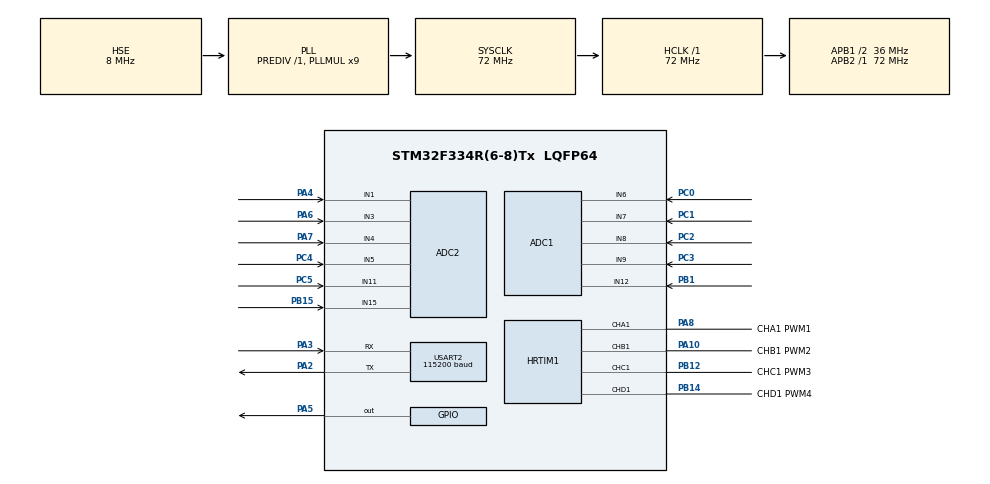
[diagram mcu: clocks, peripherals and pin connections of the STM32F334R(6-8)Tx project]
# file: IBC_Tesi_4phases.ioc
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ADC1.Channel-0\#ChannelRegularConversion=ADC_CHANNEL_6
ADC1.Channel-1\#ChannelRegularConversion=ADC_CHANNEL_7
ADC1.Channel-2\#ChannelRegularConversion=ADC_CHANNEL_8
ADC1.Channel-3\#ChannelRegularConversion=ADC_CHANNEL_9
ADC1.ClockPrescaler=ADC_CLOCK_SYNC_PCLK_DIV1
ADC1.DMAContinuousRequests=ENABLE
ADC1.DiscontinuousConvMode=ENABLE
ADC1.ExternalTrigConv=ADC_EXTERNALTRIGCONVHRTIM_TRG1
ADC1.ExternalTrigInjecConv=ADC_INJECTED_SOFTWARE_START
ADC1.InjNumberOfConversion=1
ADC1.InjectedChannel-4\#ChannelInjectedConversion=ADC_CHANNEL_12
ADC1.InjectedOffset-4\#ChannelInjectedConversion=0
ADC1.InjectedOffsetNumber-4\#ChannelInjectedConversion=ADC_OFFSET_NONE
ADC1.InjectedRank-4\#ChannelInjectedConversion=1
ADC1.InjectedSamplingTime-4\#ChannelInjectedConversion=ADC_SAMPLETIME_19CYCLES_5
ADC1.InjectedSamplingTimeOPAMP-4\#ChannelInjectedConversion=ADC_SAMPLETIME_61CYCLES_5
ADC1.NbrOfConversion=4
ADC1.NbrOfConversionFlag=1
ADC1.Offset-0\#ChannelRegularConversion=0
ADC1.Offset-1\#ChannelRegularConversion=0
ADC1.Offset-2\#ChannelRegularConversion=0
ADC1.Offset-3\#ChannelRegularConversion=0
ADC1.OffsetNumber-0\#ChannelRegularConversion=ADC_OFFSET_NONE
ADC1.OffsetNumber-1\#ChannelRegularConversion=ADC_OFFSET_NONE
ADC1.OffsetNumber-2\#ChannelRegularConversion=ADC_OFFSET_NONE
ADC1.OffsetNumber-3\#ChannelRegularConversion=ADC_OFFSET_NONE
ADC1.Rank-0\#ChannelRegularConversion=1
ADC1.Rank-1\#ChannelRegularConversion=2
ADC1.Rank-2\#ChannelRegularConversion=3
ADC1.Rank-3\#ChannelRegularConversion=4
ADC1.Rank1_Channel=ADC_CHANNEL_12
ADC1.SamplingTime-0\#ChannelRegularConversion=ADC_SAMPLETIME_1CYCLE_5
ADC1.SamplingTime-1\#ChannelRegularConversion=ADC_SAMPLETIME_1CYCLE_5
ADC1.SamplingTime-2\#ChannelRegularConversion=ADC_SAMPLETIME_1CYCLE_5
ADC1.SamplingTime-3\#ChannelRegularConversion=ADC_SAMPLETIME_1CYCLE_5
ADC1.SamplingTimeOPAMP-1\#ChannelRegularConversion=ADC_SAMPLETIME_61CYCLES_5
ADC1.SamplingTimeOPAMP-2\#ChannelRegularConversion=ADC_SAMPLETIME_61CYCLES_5
ADC1.SamplingTimeOPAMP-3\#ChannelRegularConversion=ADC_SAMPLETIME_61CYCLES_5
ADC1.SubFamily=STM32F334x8
ADC1.master=1
ADC2.Channel-0\#ChannelRegularConversion=ADC_CHANNEL_1
ADC2.Channel-1\#ChannelRegularConversion=ADC_CHANNEL_3
ADC2.Channel-2\#ChannelRegularConversion=ADC_CHANNEL_4
ADC2.Channel-3\#ChannelRegularConversion=ADC_CHANNEL_5
ADC2.ClockPrescaler=ADC_CLOCK_SYNC_PCLK_DIV1
ADC2.DMAContinuousRequests=ENABLE
ADC2.DiscontinuousConvMode=ENABLE
ADC2.ExternalTrigInjecConv=ADC_INJECTED_SOFTWARE_START
ADC2.InjNumberOfConversion=2
ADC2.InjectedChannel-4\#ChannelInjectedConversion=ADC_CHANNEL_11
ADC2.InjectedChannel-5\#ChannelInjectedConversion=ADC_CHANNEL_15
ADC2.InjectedOffset-4\#ChannelInjectedConversion=0
ADC2.InjectedOffset-5\#ChannelInjectedConversion=0
ADC2.InjectedOffsetNumber-4\#ChannelInjectedConversion=ADC_OFFSET_NONE
ADC2.InjectedOffsetNumber-5\#ChannelInjectedConversion=ADC_OFFSET_NONE
ADC2.InjectedRank-4\#ChannelInjectedConversion=1
ADC2.InjectedRank-5\#ChannelInjectedConversion=2
ADC2.InjectedSamplingTime-4\#ChannelInjectedConversion=ADC_SAMPLETIME_19CYCLES_5
ADC2.InjectedSamplingTime-5\#ChannelInjectedConversion=ADC_SAMPLETIME_19CYCLES_5
ADC2.InjectedSamplingTimeOPAMP-4\#ChannelInjectedConversion=ADC_SAMPLETIME_61CYCLES_5
ADC2.InjectedSamplingTimeOPAMP-5\#ChannelInjectedConversion=ADC_SAMPLETIME_61CYCLES_5
ADC2.NbrOfConversion=4
ADC2.NbrOfConversionFlag=1
ADC2.Offset-0\#ChannelRegularConversion=0
ADC2.Offset-1\#ChannelRegularConversion=0
ADC2.Offset-2\#ChannelRegularConversion=0
ADC2.Offset-3\#ChannelRegularConversion=0
ADC2.OffsetNumber-0\#ChannelRegularConversion=ADC_OFFSET_NONE
ADC2.OffsetNumber-1\#ChannelRegularConversion=ADC_OFFSET_NONE
ADC2.OffsetNumber-2\#ChannelRegularConversion=ADC_OFFSET_NONE
ADC2.OffsetNumber-3\#ChannelRegularConversion=ADC_OFFSET_NONE
ADC2.Rank-0\#ChannelRegularConversion=1
ADC2.Rank-1\#ChannelRegularConversion=2
ADC2.Rank-2\#ChannelRegularConversion=3
ADC2.Rank-3\#ChannelRegularConversion=4
ADC2.Rank1_Channel=ADC_CHANNEL_11
ADC2.Rank2_Channel=ADC_CHANNEL_15
ADC2.SamplingTime-0\#ChannelRegularConversion=ADC_SAMPLETIME_1CYCLE_5
ADC2.SamplingTime-1\#ChannelRegularConversion=ADC_SAMPLETIME_1CYCLE_5
ADC2.SamplingTime-2\#ChannelRegularConversion=ADC_SAMPLETIME_1CYCLE_5
ADC2.SamplingTime-3\#ChannelRegularConversion=ADC_SAMPLETIME_1CYCLE_5
ADC2.SamplingTimeOPAMP-1\#ChannelRegularConversion=ADC_SAMPLETIME_61CYCLES_5
ADC2.SamplingTimeOPAMP-2\#ChannelRegularConversion=ADC_SAMPLETIME_61CYCLES_5
ADC2.SamplingTimeOPAMP-3\#ChannelRegularConversion=ADC_SAMPLETIME_61CYCLES_5
ADC2.SubFamily=STM32F334x8
Dma.ADC1.0.Direction=DMA_PERIPH_TO_MEMORY
Dma.ADC1.0.Instance=DMA1_Channel1
Dma.ADC1.0.MemDataAlignment=DMA_MDATAALIGN_HALFWORD
Dma.ADC1.0.MemInc=DMA_MINC_ENABLE
Dma.ADC1.0.Mode=DMA_CIRCULAR
Dma.ADC1.0.PeriphDataAlignment=DMA_PDATAALIGN_HALFWORD
Dma.ADC1.0.PeriphInc=DMA_PINC_DISABLE
Dma.ADC1.0.Priority=DMA_PRIORITY_LOW
Dma.ADC2.1.Direction=DMA_PERIPH_TO_MEMORY
Dma.ADC2.1.Instance=DMA1_Channel2
Dma.ADC2.1.MemDataAlignment=DMA_MDATAALIGN_HALFWORD
Dma.ADC2.1.MemInc=DMA_MINC_ENABLE
Dma.ADC2.1.Mode=DMA_CIRCULAR
Dma.ADC2.1.PeriphDataAlignment=DMA_PDATAALIGN_HALFWORD
Dma.ADC2.1.PeriphInc=DMA_PINC_DISABLE
Dma.ADC2.1.Priority=DMA_PRIORITY_LOW
Dma.Request0=ADC1
Dma.Request1=ADC2
HRTIM1.ADCTrigger_Id1=HRTIM_ADCTRIGGER_1
HRTIM1.CompareUnit1-MasterTimer=HRTIM_COMPAREUNIT_1
HRTIM1.Configuration_TA=Waveform
HRTIM1.Configuration_TB=Waveform
HRTIM1.Configuration_TC=Waveform
HRTIM1.Configuration_TD=Waveform
HRTIM1.ModeTimeBase-Output_TA1=HRTIM_MODE_SINGLESHOT_RETRIGGERABLE
HRTIM1.ModeTimeBase-Output_TB1=HRTIM_MODE_SINGLESHOT_RETRIGGERABLE
HRTIM1.ModeTimeBase-Output_TC1=HRTIM_MODE_SINGLESHOT_RETRIGGERABLE
HRTIM1.ModeTimeBase-Output_TD1=HRTIM_MODE_SINGLESHOT_RETRIGGERABLE
HRTIM1.Periode_MASTER=MPER
HRTIM1.Periode_TA=MPER
HRTIM1.Periode_TB=MPER
HRTIM1.Periode_TC=MPER
HRTIM1.Periode_TD=MPER
HRTIM1.RepetitionCounter-MasterTimer=0x20
HRTIM1.RepetitionCounter-Output_TA1=0x20
HRTIM1.RepetitionCounter-Output_TB1=0x20
HRTIM1.RepetitionCounter-Output_TC1=0x20
HRTIM1.RepetitionCounter-Output_TD1=0x20
Mcu.Family=STM32F3
Mcu.Name=STM32F334R(6-8)Tx
Mcu.Package=LQFP64
Mcu.UserConstants=MPER,0x27FF;DUTY_RATIO,0x1BFF
NVIC.DMA1_Channel1_IRQn=true\:0\:0\:false\:false\:true\:false\:true\:true
NVIC.DMA1_Channel2_IRQn=true\:0\:0\:false\:false\:true\:false\:true\:true
NVIC.PriorityGroup=NVIC_PRIORITYGROUP_4
NVIC.USART2_IRQn=true\:0\:0\:false\:false\:true\:true\:true\:true
PA10.GPIO_Label=CHB1 PWM2
PA10.Mode=Output_TB1
PA10.Signal=HRTIM1_CHB1
PA2.Mode=Asynchronous
PA2.Signal=USART2_TX
PA3.Mode=Asynchronous
PA3.Signal=USART2_RX
PA4.Mode=IN1-Single-Ended
PA4.Signal=ADC2_IN1
PA5.Signal=GPIO_Output
PA6.Mode=IN3-Single-Ended
PA6.Signal=ADC2_IN3
PA7.Mode=IN4-Single-Ended
PA7.Signal=ADC2_IN4
PA8.GPIO_Label=CHA1 PWM1
PA8.Mode=Output_TA1
PA8.Signal=HRTIM1_CHA1
PB1.Mode=IN12-Single-Ended
PB1.Signal=ADC1_IN12
PB12.GPIO_Label=CHC1 PWM3
PB12.Mode=Output_TC1
PB12.Signal=HRTIM1_CHC1
PB14.GPIO_Label=CHD1 PWM4
PB14.Mode=Output_TD1
PB14.Signal=HRTIM1_CHD1
PB15.Mode=IN15-Single-Ended
PB15.Signal=ADC2_IN15
PC0.Signal=ADCx_IN6
PC1.Signal=ADCx_IN7
PC2.Signal=ADCx_IN8
PC3.Signal=ADCx_IN9
PC4.Mode=IN5-Single-Ended
PC4.Signal=ADC2_IN5
PC5.Mode=IN11-Single-Ended
PC5.Signal=ADC2_IN11
PF0\ /\ OSC_IN.Mode=HSE-External-Clock-Source
PF0\ /\ OSC_IN.Signal=RCC_OSC_IN
ProjectManager.HeapSize=0x200
ProjectManager.StackSize=0x400
ProjectManager.TargetToolchain=STM32CubeIDE
RCC.AHBFreq_Value=72000000
RCC.APB1CLKDivider=RCC_HCLK_DIV2
RCC.APB1Freq_Value=36000000
RCC.APB1TimFreq_Value=72000000
RCC.APB2Freq_Value=72000000
RCC.APB2TimFreq_Value=72000000
RCC.CortexFreq_Value=72000000
RCC.HCLKFreq_Value=72000000
RCC.HRTIMSelection=RCC_HRTIM1CLK_PLLCLK
RCC.HSE_VALUE=8000000
RCC.HSI_VALUE=8000000
RCC.LSE_VALUE=32768
RCC.PLLMUL=RCC_PLL_MUL9
RCC.PLLSourceVirtual=RCC_PLLSOURCE_HSE
RCC.SYSCLKFreq_VALUE=72000000
RCC.SYSCLKSourceVirtual=RCC_SYSCLKSOURCE_PLLCLK
SH.ADCx_IN6.0=ADC1_IN6,IN6-Single-Ended
SH.ADCx_IN7.0=ADC1_IN7,IN7-Single-Ended
SH.ADCx_IN8.0=ADC1_IN8,IN8-Single-Ended
SH.ADCx_IN9.0=ADC1_IN9,IN9-Single-Ended
USART2.BaudRate=115200
USART2.VirtualMode-Asynchronous=VM_ASYNC
VP_HRTIM1_VS_hrtimMasterTimerNoOutput.Mode=MasterTimer
board=custom

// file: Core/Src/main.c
/* USER CODE BEGIN Header */
/**
  ******************************************************************************
  * @file           : main.c
  * @brief          : Main program body
  ******************************************************************************
  * @attention
  *
  * Copyright (c) 2026 STMicroelectronics.
  * All rights reserved.
  *
  * This software is licensed under terms that can be found in the LICENSE file
  * in the root directory of this software component.
  * If no LICENSE file comes with this software, it is provided AS-IS.
  *
  ******************************************************************************
  */
/* USER CODE END Header */
#include "main.h"

/* USER CODE BEGIN Includes */
#include <stdlib.h>
#include <string.h>
#include <stdio.h>
/* USER CODE END Includes */

ADC_HandleTypeDef hadc1;
ADC_HandleTypeDef hadc2;
DMA_HandleTypeDef hdma_adc1;
DMA_HandleTypeDef hdma_adc2;

HRTIM_HandleTypeDef hhrtim1;

UART_HandleTypeDef huart2;

/* USER CODE BEGIN PV */

/*vairabili per UART*/
uint8_t uart_rx_byte;         /* Singolo carattere ricevuto */
char    uart_rx_buffer[16];   /* Stringa accumulata fino alla pressione di INVIO */
uint8_t uart_rx_index = 0;

/* Variabili modificabili in runtime (Open Loop) */
volatile uint8_t  NumActivePhases = 4;              /* Valori ammessi: 1, 2, 3, 4 */
volatile uint8_t  PrevActivePhases = 0;             /* Usata per rilevare il cambio fase */
volatile float    TargetDutyPercent = 25.0f;        /* Duty cycle impostabile (es. 0.0 - 80.0 %) */
volatile uint32_t CurrentDutyTicks = DUTY_CYCLE_INIT;

volatile uint16_t PhaseCurrents_ADC2[4]; 		/*Accessed by DMA, PH1->PH4, PA4-PA6-PA7-PC4*/
volatile uint16_t PhaseVoltages_ADC1[4];		/*Accessed by DMA, PH1->PH4, PC0-PC1-PC2-PC3*/

/* Injected Channels No DMA, triggered by software */

volatile uint16_t OutputCurrent_ADC1 = 0; /* PB1 (ADC1_IN12) */
volatile uint16_t OutputVoltage_ADC2 = 0; /* PC5 (ADC2_IN11) */
volatile uint16_t Temperature_ADC2   = 0; /* PB15 (ADC2_IN15) */
/* USER CODE END PV */

void SystemClock_Config(void);
static void MX_GPIO_Init(void);
static void MX_DMA_Init(void);
static void MX_HRTIM1_Init(void);
static void MX_ADC1_Init(void);
static void MX_ADC2_Init(void);
static void MX_USART2_UART_Init(void);
/* USER CODE BEGIN PFP */
static void Update_Boost_Parameters(void);
static void HRTIM_Config(void);
/* USER CODE END PFP */

int main(void)
{

  /* MCU Configuration--------------------------------------------------------*/

  /* Reset of all peripherals, Initializes the Flash interface and the Systick. */
  HAL_Init();

  /* USER CODE BEGIN Init */
  /* Initialize User_Button on STM32F3348-DISCO */

  /* Initialize ADC to be triggered by the HRTIMER */
  //ADC_Config();

  /* USER CODE END Init */

  /* Configure the system clock */
  SystemClock_Config();

  /* Initialize all configured peripherals */
  MX_GPIO_Init();
  MX_DMA_Init();
  //MX_HRTIM1_Init();
  MX_ADC1_Init();
  MX_ADC2_Init();
  MX_USART2_UART_Init();
  /* USER CODE BEGIN 2 */

  /* 1. Calibrazione hardware di ADC1 e ADC2 in Single-Ended (come in main.c) */
  if (HAL_ADCEx_Calibration_Start(&hadc1, ADC_SINGLE_ENDED) != HAL_OK)
  {
	  Error_Handler();
  }
  if (HAL_ADCEx_Calibration_Start(&hadc2, ADC_SINGLE_ENDED) != HAL_OK)
  {
	  Error_Handler();
  }
  /* 2. Avvia il DMA in modalità Circular per i 4 canali Regular di ADC1 e ADC2 */
    /* Da questo momento gli ADC aspettano in automatico i trigger HRTIM_ADCTRIGGER_1 */
  if (HAL_ADC_Start_DMA(&hadc1, (uint32_t *)PhaseVoltages_ADC1, 4) != HAL_OK)
  {
	  Error_Handler();
  }
  if (HAL_ADC_Start_DMA(&hadc2, (uint32_t *)PhaseCurrents_ADC2, 4) != HAL_OK)
  {
	  Error_Handler();
  }
  /* DISABILITA GLI INTERRUPT DEL DMA: il DMA continua a copiare i dati in RAM in
       modalità Circular a 400 kHz, ma lascia libera al 100% la CPU e la UART! */

  __HAL_DMA_DISABLE_IT(&hdma_adc1, DMA_IT_HT | DMA_IT_TC | DMA_IT_TE);
  __HAL_DMA_DISABLE_IT(&hdma_adc2, DMA_IT_HT | DMA_IT_TC | DMA_IT_TE);
  HAL_NVIC_DisableIRQ(DMA1_Channel1_IRQn);
  HAL_NVIC_DisableIRQ(DMA1_Channel2_IRQn);

  /* 3. Configura l'HRTIM1 e collega i pin fisici PA8, PA10, PB12, PB14 */
  HRTIM_Config();
  HAL_HRTIM_MspPostInit(&hhrtim1);
  /* Enable HRTIM's outputs TA2, TB1, TC2, TD1, TD2 */
  HAL_HRTIM_WaveformOutputStart(&hhrtim1, HRTIM_OUTPUT_TA1 | HRTIM_OUTPUT_TB1 | HRTIM_OUTPUT_TC1 | HRTIM_OUTPUT_TD1);
  /* Start HRTIM's TIMER A, B, C, D */
  HAL_HRTIM_WaveformCountStart(&hhrtim1, HRTIM_TIMERID_MASTER | HRTIM_TIMERID_TIMER_A | HRTIM_TIMERID_TIMER_B | HRTIM_TIMERID_TIMER_C | HRTIM_TIMERID_TIMER_D);

  char welcome_msg[] = "\r\n--- BOOST 4 FASI PRONTO ---\r\nDigita Duty (1-100) + INVIO (oppure P1..P4 per le fasi):\r\n";
  /* USER CODE END 2 */

  /* Infinite loop */
  /* USER CODE BEGIN WHILE */
  while (1)
  {
	  /* Aggiorna numero fasi e duty cycle da Live Expressions */
	  Update_Boost_Parameters();

	  HAL_ADCEx_InjectedStart(&hadc1);
	  HAL_ADCEx_InjectedStart(&hadc2);

	      /* 3. Leggi i risultati dai registri dedicati JDR1 e JDR2 */
	  OutputCurrent_ADC1 = HAL_ADCEx_InjectedGetValue(&hadc1, ADC_INJECTED_RANK_1);
	  OutputVoltage_ADC2 = HAL_ADCEx_InjectedGetValue(&hadc2, ADC_INJECTED_RANK_1);
	  Temperature_ADC2   = HAL_ADCEx_InjectedGetValue(&hadc2, ADC_INJECTED_RANK_2);

	  /* Avvia l'ascolto della tastiera su USART2 (1 carattere alla volta in Interrupt) */
	  HAL_UART_Receive_IT(&huart2, &uart_rx_byte, 1);

	  HAL_Delay(10); /* Controlla modifiche ogni 10 ms */
    /* USER CODE END WHILE */

  }
}

void SystemClock_Config(void)
{
  RCC_OscInitTypeDef RCC_OscInitStruct = {0};
  RCC_ClkInitTypeDef RCC_ClkInitStruct = {0};
  RCC_PeriphCLKInitTypeDef PeriphClkInit = {0};

  /** Initializes the RCC Oscillators according to the specified parameters
  * in the RCC_OscInitTypeDef structure.
  */
  RCC_OscInitStruct.OscillatorType = RCC_OSCILLATORTYPE_HSE;
  RCC_OscInitStruct.HSEState = RCC_HSE_BYPASS;
  RCC_OscInitStruct.HSEPredivValue = RCC_HSE_PREDIV_DIV1;
  RCC_OscInitStruct.HSIState = RCC_HSI_ON;
  RCC_OscInitStruct.PLL.PLLState = RCC_PLL_ON;
  RCC_OscInitStruct.PLL.PLLSource = RCC_PLLSOURCE_HSE;
  RCC_OscInitStruct.PLL.PLLMUL = RCC_PLL_MUL9;
  if (HAL_RCC_OscConfig(&RCC_OscInitStruct) != HAL_OK)
  {
    Error_Handler();
  }

  /** Initializes the CPU, AHB and APB buses clocks
  */
  RCC_ClkInitStruct.ClockType = RCC_CLOCKTYPE_HCLK|RCC_CLOCKTYPE_SYSCLK
                              |RCC_CLOCKTYPE_PCLK1|RCC_CLOCKTYPE_PCLK2;
  RCC_ClkInitStruct.SYSCLKSource = RCC_SYSCLKSOURCE_PLLCLK;
  RCC_ClkInitStruct.AHBCLKDivider = RCC_SYSCLK_DIV1;
  RCC_ClkInitStruct.APB1CLKDivider = RCC_HCLK_DIV2;
  RCC_ClkInitStruct.APB2CLKDivider = RCC_HCLK_DIV1;

  if (HAL_RCC_ClockConfig(&RCC_ClkInitStruct, FLASH_LATENCY_2) != HAL_OK)
  {
    Error_Handler();
  }
  PeriphClkInit.PeriphClockSelection = RCC_PERIPHCLK_HRTIM1;
  PeriphClkInit.Hrtim1ClockSelection = RCC_HRTIM1CLK_PLLCLK;
  if (HAL_RCCEx_PeriphCLKConfig(&PeriphClkInit) != HAL_OK)
  {
    Error_Handler();
  }
}

static void MX_ADC1_Init(void)
{

  ADC_MultiModeTypeDef multimode = {0};
  ADC_ChannelConfTypeDef sConfig = {0};
  ADC_InjectionConfTypeDef sConfigInjected = {0};

  /** Common config
  */
  hadc1.Instance = ADC1;
  hadc1.Init.ClockPrescaler = ADC_CLOCK_SYNC_PCLK_DIV1;
  hadc1.Init.Resolution = ADC_RESOLUTION_12B;
  hadc1.Init.ScanConvMode = ADC_SCAN_ENABLE;
  hadc1.Init.ContinuousConvMode = DISABLE;
  hadc1.Init.DiscontinuousConvMode = ENABLE;
  hadc1.Init.NbrOfDiscConversion = 1;
  hadc1.Init.ExternalTrigConvEdge = ADC_EXTERNALTRIGCONVEDGE_RISING;
  hadc1.Init.ExternalTrigConv = ADC_EXTERNALTRIGCONVHRTIM_TRG1;
  hadc1.Init.DataAlign = ADC_DATAALIGN_RIGHT;
  hadc1.Init.NbrOfConversion = 4;
  hadc1.Init.DMAContinuousRequests = ENABLE;
  hadc1.Init.EOCSelection = ADC_EOC_SINGLE_CONV;
  hadc1.Init.LowPowerAutoWait = DISABLE;
  hadc1.Init.Overrun = ADC_OVR_DATA_OVERWRITTEN;
  if (HAL_ADC_Init(&hadc1) != HAL_OK)
  {
    Error_Handler();
  }

  /** Configure the ADC multi-mode
  */
  multimode.Mode = ADC_MODE_INDEPENDENT;
  if (HAL_ADCEx_MultiModeConfigChannel(&hadc1, &multimode) != HAL_OK)
  {
    Error_Handler();
  }

  /** Configure Regular Channel
  */
  sConfig.Channel = ADC_CHANNEL_6;
  sConfig.Rank = ADC_REGULAR_RANK_1;
  sConfig.SingleDiff = ADC_SINGLE_ENDED;
  sConfig.SamplingTime = ADC_SAMPLETIME_1CYCLE_5;
  sConfig.OffsetNumber = ADC_OFFSET_NONE;
  sConfig.Offset = 0;
  if (HAL_ADC_ConfigChannel(&hadc1, &sConfig) != HAL_OK)
  {
    Error_Handler();
  }

  /** Configure Regular Channel
  */
  sConfig.Channel = ADC_CHANNEL_7;
  sConfig.Rank = ADC_REGULAR_RANK_2;
  if (HAL_ADC_ConfigChannel(&hadc1, &sConfig) != HAL_OK)
  {
    Error_Handler();
  }

  /** Configure Regular Channel
  */
  sConfig.Channel = ADC_CHANNEL_8;
  sConfig.Rank = ADC_REGULAR_RANK_3;
  if (HAL_ADC_ConfigChannel(&hadc1, &sConfig) != HAL_OK)
  {
    Error_Handler();
  }

  /** Configure Regular Channel
  */
  sConfig.Channel = ADC_CHANNEL_9;
  sConfig.Rank = ADC_REGULAR_RANK_4;
  if (HAL_ADC_ConfigChannel(&hadc1, &sConfig) != HAL_OK)
  {
    Error_Handler();
  }

  /** Configure Injected Channel
  */
  sConfigInjected.InjectedChannel = ADC_CHANNEL_12;
  sConfigInjected.InjectedRank = ADC_INJECTED_RANK_1;
  sConfigInjected.InjectedSingleDiff = ADC_SINGLE_ENDED;
  sConfigInjected.InjectedNbrOfConversion = 1;
  sConfigInjected.InjectedSamplingTime = ADC_SAMPLETIME_19CYCLES_5;
  sConfigInjected.ExternalTrigInjecConvEdge = ADC_EXTERNALTRIGINJECCONV_EDGE_RISING;
  sConfigInjected.ExternalTrigInjecConv = ADC_INJECTED_SOFTWARE_START;
  sConfigInjected.AutoInjectedConv = DISABLE;
  sConfigInjected.InjectedDiscontinuousConvMode = DISABLE;
  sConfigInjected.QueueInjectedContext = DISABLE;
  sConfigInjected.InjectedOffset = 0;
  sConfigInjected.InjectedOffsetNumber = ADC_OFFSET_NONE;
  if (HAL_ADCEx_InjectedConfigChannel(&hadc1, &sConfigInjected) != HAL_OK)
  {
    Error_Handler();
  }

}

static void MX_ADC2_Init(void)
{

  ADC_ChannelConfTypeDef sConfig = {0};
  ADC_InjectionConfTypeDef sConfigInjected = {0};

  /** Common config
  */
  hadc2.Instance = ADC2;
  hadc2.Init.ClockPrescaler = ADC_CLOCK_SYNC_PCLK_DIV1;
  hadc2.Init.Resolution = ADC_RESOLUTION_12B;
  hadc2.Init.ScanConvMode = ADC_SCAN_ENABLE;
  hadc2.Init.ContinuousConvMode = DISABLE;
  hadc2.Init.DiscontinuousConvMode = ENABLE;
  hadc2.Init.NbrOfDiscConversion = 1;
  hadc2.Init.ExternalTrigConvEdge = ADC_EXTERNALTRIGCONVEDGE_NONE;
  hadc2.Init.ExternalTrigConv = ADC_SOFTWARE_START;
  hadc2.Init.DataAlign = ADC_DATAALIGN_RIGHT;
  hadc2.Init.NbrOfConversion = 4;
  hadc2.Init.DMAContinuousRequests = ENABLE;
  hadc2.Init.EOCSelection = ADC_EOC_SINGLE_CONV;
  hadc2.Init.LowPowerAutoWait = DISABLE;
  hadc2.Init.Overrun = ADC_OVR_DATA_OVERWRITTEN;
  if (HAL_ADC_Init(&hadc2) != HAL_OK)
  {
    Error_Handler();
  }

  /** Configure Regular Channel
  */
  sConfig.Channel = ADC_CHANNEL_1;
  sConfig.Rank = ADC_REGULAR_RANK_1;
  sConfig.SingleDiff = ADC_SINGLE_ENDED;
  sConfig.SamplingTime = ADC_SAMPLETIME_1CYCLE_5;
  sConfig.OffsetNumber = ADC_OFFSET_NONE;
  sConfig.Offset = 0;
  if (HAL_ADC_ConfigChannel(&hadc2, &sConfig) != HAL_OK)
  {
    Error_Handler();
  }

  /** Configure Regular Channel
  */
  sConfig.Channel = ADC_CHANNEL_3;
  sConfig.Rank = ADC_REGULAR_RANK_2;
  if (HAL_ADC_ConfigChannel(&hadc2, &sConfig) != HAL_OK)
  {
    Error_Handler();
  }

  /** Configure Regular Channel
  */
  sConfig.Channel = ADC_CHANNEL_4;
  sConfig.Rank = ADC_REGULAR_RANK_3;
  if (HAL_ADC_ConfigChannel(&hadc2, &sConfig) != HAL_OK)
  {
    Error_Handler();
  }

  /** Configure Regular Channel
  */
  sConfig.Channel = ADC_CHANNEL_5;
  sConfig.Rank = ADC_REGULAR_RANK_4;
  if (HAL_ADC_ConfigChannel(&hadc2, &sConfig) != HAL_OK)
  {
    Error_Handler();
  }

  /** Configure Injected Channel
  */
  sConfigInjected.InjectedChannel = ADC_CHANNEL_11;
  sConfigInjected.InjectedRank = ADC_INJECTED_RANK_1;
  sConfigInjected.InjectedSingleDiff = ADC_SINGLE_ENDED;
  sConfigInjected.InjectedNbrOfConversion = 2;
  sConfigInjected.InjectedSamplingTime = ADC_SAMPLETIME_19CYCLES_5;
  sConfigInjected.ExternalTrigInjecConvEdge = ADC_EXTERNALTRIGINJECCONV_EDGE_RISING;
  sConfigInjected.ExternalTrigInjecConv = ADC_INJECTED_SOFTWARE_START;
  sConfigInjected.AutoInjectedConv = DISABLE;
  sConfigInjected.InjectedDiscontinuousConvMode = DISABLE;
  sConfigInjected.QueueInjectedContext = DISABLE;
  sConfigInjected.InjectedOffset = 0;
  sConfigInjected.InjectedOffsetNumber = ADC_OFFSET_NONE;
  if (HAL_ADCEx_InjectedConfigChannel(&hadc2, &sConfigInjected) != HAL_OK)
  {
    Error_Handler();
  }

  /** Configure Injected Channel
  */
  sConfigInjected.InjectedChannel = ADC_CHANNEL_15;
  sConfigInjected.InjectedRank = ADC_INJECTED_RANK_2;
  if (HAL_ADCEx_InjectedConfigChannel(&hadc2, &sConfigInjected) != HAL_OK)
  {
    Error_Handler();
  }

}

static void MX_HRTIM1_Init(void)
{

  HRTIM_ADCTriggerCfgTypeDef pADCTriggerCfg = {0};
  HRTIM_TimeBaseCfgTypeDef pTimeBaseCfg = {0};
  HRTIM_TimerCfgTypeDef pTimerCfg = {0};
  HRTIM_CompareCfgTypeDef pCompareCfg = {0};
  HRTIM_OutputCfgTypeDef pOutputCfg = {0};

  hhrtim1.Instance = HRTIM1;
  hhrtim1.Init.HRTIMInterruptResquests = HRTIM_IT_NONE;
  hhrtim1.Init.SyncOptions = HRTIM_SYNCOPTION_NONE;
  if (HAL_HRTIM_Init(&hhrtim1) != HAL_OK)
  {
    Error_Handler();
  }
  if (HAL_HRTIM_DLLCalibrationStart(&hhrtim1, HRTIM_CALIBRATIONRATE_14) != HAL_OK)
  {
    Error_Handler();
  }
  if (HAL_HRTIM_PollForDLLCalibration(&hhrtim1, 10) != HAL_OK)
  {
    Error_Handler();
  }
  pADCTriggerCfg.UpdateSource = HRTIM_ADCTRIGGERUPDATE_MASTER;
  pADCTriggerCfg.Trigger = HRTIM_ADCTRIGGEREVENT13_NONE;
  if (HAL_HRTIM_ADCTriggerConfig(&hhrtim1, HRTIM_ADCTRIGGER_1, &pADCTriggerCfg) != HAL_OK)
  {
    Error_Handler();
  }
  pTimeBaseCfg.Period = MPER;
  pTimeBaseCfg.RepetitionCounter = 0x20;
  pTimeBaseCfg.PrescalerRatio = HRTIM_PRESCALERRATIO_MUL32;
  pTimeBaseCfg.Mode = HRTIM_MODE_CONTINUOUS;
  if (HAL_HRTIM_TimeBaseConfig(&hhrtim1, HRTIM_TIMERINDEX_MASTER, &pTimeBaseCfg) != HAL_OK)
  {
    Error_Handler();
  }
  pTimerCfg.InterruptRequests = HRTIM_MASTER_IT_NONE;
  pTimerCfg.DMARequests = HRTIM_MASTER_DMA_NONE;
  pTimerCfg.DMASrcAddress = 0x0000;
  pTimerCfg.DMADstAddress = 0x0000;
  pTimerCfg.DMASize = 0x1;
  pTimerCfg.HalfModeEnable = HRTIM_HALFMODE_DISABLED;
  pTimerCfg.StartOnSync = HRTIM_SYNCSTART_DISABLED;
  pTimerCfg.ResetOnSync = HRTIM_SYNCRESET_DISABLED;
  pTimerCfg.DACSynchro = HRTIM_DACSYNC_NONE;
  pTimerCfg.PreloadEnable = HRTIM_PRELOAD_DISABLED;
  pTimerCfg.UpdateGating = HRTIM_UPDATEGATING_INDEPENDENT;
  pTimerCfg.BurstMode = HRTIM_TIMERBURSTMODE_MAINTAINCLOCK;
  pTimerCfg.RepetitionUpdate = HRTIM_UPDATEONREPETITION_DISABLED;
  if (HAL_HRTIM_WaveformTimerConfig(&hhrtim1, HRTIM_TIMERINDEX_MASTER, &pTimerCfg) != HAL_OK)
  {
    Error_Handler();
  }
  pCompareCfg.CompareValue = 0xFFDF;
  if (HAL_HRTIM_WaveformCompareConfig(&hhrtim1, HRTIM_TIMERINDEX_MASTER, HRTIM_COMPAREUNIT_1, &pCompareCfg) != HAL_OK)
  {
    Error_Handler();
  }
  pTimeBaseCfg.Mode = HRTIM_MODE_SINGLESHOT_RETRIGGERABLE;
  if (HAL_HRTIM_TimeBaseConfig(&hhrtim1, HRTIM_TIMERINDEX_TIMER_A, &pTimeBaseCfg) != HAL_OK)
  {
    Error_Handler();
  }
  pTimerCfg.InterruptRequests = HRTIM_TIM_IT_NONE;
  pTimerCfg.DMARequests = HRTIM_TIM_DMA_NONE;
  pTimerCfg.PushPull = HRTIM_TIMPUSHPULLMODE_DISABLED;
  pTimerCfg.FaultEnable = HRTIM_TIMFAULTENABLE_NONE;
  pTimerCfg.FaultLock = HRTIM_TIMFAULTLOCK_READWRITE;
  pTimerCfg.DeadTimeInsertion = HRTIM_TIMDEADTIMEINSERTION_DISABLED;
  pTimerCfg.DelayedProtectionMode = HRTIM_TIMER_A_B_C_DELAYEDPROTECTION_DISABLED;
  pTimerCfg.UpdateTrigger = HRTIM_TIMUPDATETRIGGER_NONE;
  pTimerCfg.ResetTrigger = HRTIM_TIMRESETTRIGGER_NONE;
  pTimerCfg.ResetUpdate = HRTIM_TIMUPDATEONRESET_DISABLED;
  if (HAL_HRTIM_WaveformTimerConfig(&hhrtim1, HRTIM_TIMERINDEX_TIMER_A, &pTimerCfg) != HAL_OK)
  {
    Error_Handler();
  }
  if (HAL_HRTIM_WaveformTimerConfig(&hhrtim1, HRTIM_TIMERINDEX_TIMER_B, &pTimerCfg) != HAL_OK)
  {
    Error_Handler();
  }
  if (HAL_HRTIM_WaveformTimerConfig(&hhrtim1, HRTIM_TIMERINDEX_TIMER_C, &pTimerCfg) != HAL_OK)
  {
    Error_Handler();
  }
  pTimerCfg.DelayedProtectionMode = HRTIM_TIMER_D_E_DELAYEDPROTECTION_DISABLED;
  if (HAL_HRTIM_WaveformTimerConfig(&hhrtim1, HRTIM_TIMERINDEX_TIMER_D, &pTimerCfg) != HAL_OK)
  {
    Error_Handler();
  }
  pOutputCfg.Polarity = HRTIM_OUTPUTPOLARITY_HIGH;
  pOutputCfg.SetSource = HRTIM_OUTPUTSET_NONE;
  pOutputCfg.ResetSource = HRTIM_OUTPUTRESET_NONE;
  pOutputCfg.IdleMode = HRTIM_OUTPUTIDLEMODE_NONE;
  pOutputCfg.IdleLevel = HRTIM_OUTPUTIDLELEVEL_INACTIVE;
  pOutputCfg.FaultLevel = HRTIM_OUTPUTFAULTLEVEL_NONE;
  pOutputCfg.ChopperModeEnable = HRTIM_OUTPUTCHOPPERMODE_DISABLED;
  pOutputCfg.BurstModeEntryDelayed = HRTIM_OUTPUTBURSTMODEENTRY_REGULAR;
  if (HAL_HRTIM_WaveformOutputConfig(&hhrtim1, HRTIM_TIMERINDEX_TIMER_A, HRTIM_OUTPUT_TA1, &pOutputCfg) != HAL_OK)
  {
    Error_Handler();
  }
  if (HAL_HRTIM_WaveformOutputConfig(&hhrtim1, HRTIM_TIMERINDEX_TIMER_B, HRTIM_OUTPUT_TB1, &pOutputCfg) != HAL_OK)
  {
    Error_Handler();
  }
  if (HAL_HRTIM_WaveformOutputConfig(&hhrtim1, HRTIM_TIMERINDEX_TIMER_C, HRTIM_OUTPUT_TC1, &pOutputCfg) != HAL_OK)
  {
    Error_Handler();
  }
  if (HAL_HRTIM_WaveformOutputConfig(&hhrtim1, HRTIM_TIMERINDEX_TIMER_D, HRTIM_OUTPUT_TD1, &pOutputCfg) != HAL_OK)
  {
    Error_Handler();
  }
  if (HAL_HRTIM_TimeBaseConfig(&hhrtim1, HRTIM_TIMERINDEX_TIMER_B, &pTimeBaseCfg) != HAL_OK)
  {
    Error_Handler();
  }
  if (HAL_HRTIM_TimeBaseConfig(&hhrtim1, HRTIM_TIMERINDEX_TIMER_C, &pTimeBaseCfg) != HAL_OK)
  {
    Error_Handler();
  }
  if (HAL_HRTIM_TimeBaseConfig(&hhrtim1, HRTIM_TIMERINDEX_TIMER_D, &pTimeBaseCfg) != HAL_OK)
  {
    Error_Handler();
  }
  HAL_HRTIM_MspPostInit(&hhrtim1);

}

static void MX_USART2_UART_Init(void)
{

  huart2.Instance = USART2;
  huart2.Init.BaudRate = 115200;
  huart2.Init.WordLength = UART_WORDLENGTH_8B;
  huart2.Init.StopBits = UART_STOPBITS_1;
  huart2.Init.Parity = UART_PARITY_NONE;
  huart2.Init.Mode = UART_MODE_TX_RX;
  huart2.Init.HwFlowCtl = UART_HWCONTROL_NONE;
  huart2.Init.OverSampling = UART_OVERSAMPLING_16;
  huart2.Init.OneBitSampling = UART_ONE_BIT_SAMPLE_DISABLE;
  huart2.AdvancedInit.AdvFeatureInit = UART_ADVFEATURE_NO_INIT;
  if (HAL_UART_Init(&huart2) != HAL_OK)
  {
    Error_Handler();
  }

}

static void MX_DMA_Init(void)
{

  /* DMA controller clock enable */
  __HAL_RCC_DMA1_CLK_ENABLE();

  /* DMA interrupt init */
  /* DMA1_Channel1_IRQn interrupt configuration */
  HAL_NVIC_SetPriority(DMA1_Channel1_IRQn, 0, 0);
  HAL_NVIC_EnableIRQ(DMA1_Channel1_IRQn);
  /* DMA1_Channel2_IRQn interrupt configuration */
  HAL_NVIC_SetPriority(DMA1_Channel2_IRQn, 0, 0);
  HAL_NVIC_EnableIRQ(DMA1_Channel2_IRQn);

}

static void MX_GPIO_Init(void)
{
  GPIO_InitTypeDef GPIO_InitStruct = {0};

  /* GPIO Ports Clock Enable */
  __HAL_RCC_GPIOF_CLK_ENABLE();
  __HAL_RCC_GPIOC_CLK_ENABLE();
  __HAL_RCC_GPIOA_CLK_ENABLE();
  __HAL_RCC_GPIOB_CLK_ENABLE();

  /*Configure GPIO pin Output Level */
  HAL_GPIO_WritePin(GPIOA, GPIO_PIN_5, GPIO_PIN_RESET);

  /*Configure GPIO pin : PA5 */
  GPIO_InitStruct.Pin = GPIO_PIN_5;
  GPIO_InitStruct.Mode = GPIO_MODE_OUTPUT_PP;
  GPIO_InitStruct.Pull = GPIO_NOPULL;
  GPIO_InitStruct.Speed = GPIO_SPEED_FREQ_LOW;
  HAL_GPIO_Init(GPIOA, &GPIO_InitStruct);

}

/* USER CODE BEGIN 4 */
static void HRTIM_Config(void)
{
  HRTIM_TimeBaseCfgTypeDef timebase_config = {0};
  HRTIM_TimerCfgTypeDef timer_config = {0};
  HRTIM_OutputCfgTypeDef output_config = {0};
  HRTIM_CompareCfgTypeDef compare_config = {0};
  HRTIM_ADCTriggerCfgTypeDef adc_trigger_config = {0};
  HRTIM_FaultCfgTypeDef fault_config = {0};
  HRTIM_BurstModeCfgTypeDef burst_config = {0};

  /* ----------------------------*/
  /* HRTIM Global initialization */
  /* ----------------------------*/
  hhrtim1.Instance = HRTIM1;
  hhrtim1.Init.HRTIMInterruptResquests = HRTIM_IT_NONE;
  hhrtim1.Init.SyncOptions = HRTIM_SYNCOPTION_NONE;

  if (HAL_HRTIM_Init(&hhrtim1) != HAL_OK)
  {
    Error_Handler();
  }

  /* HRTIM DLL calibration: periodic calibration, set period to 14 us */
  HAL_HRTIM_DLLCalibrationStart(&hhrtim1, HRTIM_CALIBRATIONRATE_14);
  if (HAL_HRTIM_PollForDLLCalibration(&hhrtim1, DLL_CALIBRATIONTIMEOUT) != HAL_OK)
  {
    Error_Handler();
  }

  /* ---------------------------------------------------------------- */
  /* 1. MASTER TIMER TIMEBASE (Quello che era stato sovrascritto!)    */
  /* ---------------------------------------------------------------- */
  timebase_config.Period = MULTIPHASE_PERIOD;
  timebase_config.RepetitionCounter = REPETITON_RATE;
  timebase_config.PrescalerRatio = HRTIM_PRESCALERRATIO_MUL32;
  timebase_config.Mode = HRTIM_MODE_CONTINUOUS;
  if (HAL_HRTIM_TimeBaseConfig(&hhrtim1, HRTIM_TIMERINDEX_MASTER, &timebase_config) != HAL_OK)
  {
    Error_Handler();
  }

  /* ---------------------------------------------------------- */
  /* 2. MASTER TIMER WAVEFORM CONFIG                            */
  /* ---------------------------------------------------------- */
  timer_config.DMARequests = HRTIM_TIM_DMA_NONE;
  timer_config.DMASrcAddress = 0x0;
  timer_config.DMADstAddress = 0x0;
  timer_config.DMASize = 0x0;
  timer_config.HalfModeEnable = HRTIM_HALFMODE_DISABLED;
  timer_config.StartOnSync = HRTIM_SYNCSTART_DISABLED;
  timer_config.ResetOnSync = HRTIM_SYNCRESET_DISABLED;
  timer_config.DACSynchro = HRTIM_DACSYNC_NONE;
  timer_config.PreloadEnable = HRTIM_PRELOAD_ENABLED;
  timer_config.UpdateGating = HRTIM_UPDATEGATING_INDEPENDENT;
  timer_config.BurstMode = HRTIM_TIMERBURSTMODE_MAINTAINCLOCK;
  timer_config.RepetitionUpdate = HRTIM_UPDATEONREPETITION_ENABLED;
  timer_config.InterruptRequests = HRTIM_MASTER_IT_NONE; /* NONE per Open Loop */
  HAL_HRTIM_WaveformTimerConfig(&hhrtim1, HRTIM_TIMERINDEX_MASTER, &timer_config);

  /* -------------------------------------------------------------- */
  /* 3. TIMERA, TIMERB, TIMERC, TIMERD TIMEBASE                     */
  /* -------------------------------------------------------------- */
  timebase_config.Period = MULTIPHASE_PERIOD - 1 - ADC_CONVERSION_TIME;
  timebase_config.RepetitionCounter = REPETITON_RATE;
  timebase_config.PrescalerRatio = HRTIM_PRESCALERRATIO_MUL32;
  timebase_config.Mode = HRTIM_MODE_SINGLESHOT_RETRIGGERABLE;
  HAL_HRTIM_TimeBaseConfig(&hhrtim1, HRTIM_TIMERINDEX_TIMER_A, &timebase_config);
  HAL_HRTIM_TimeBaseConfig(&hhrtim1, HRTIM_TIMERINDEX_TIMER_B, &timebase_config);
  HAL_HRTIM_TimeBaseConfig(&hhrtim1, HRTIM_TIMERINDEX_TIMER_C, &timebase_config);
  HAL_HRTIM_TimeBaseConfig(&hhrtim1, HRTIM_TIMERINDEX_TIMER_D, &timebase_config);

  /* --------------------------------------------------------------------- */
  /* 4. TIMERA, TIMERB, TIMERC, TIMERD WAVEFORM CONFIG                     */
  /* --------------------------------------------------------------------- */
  timer_config.DMARequests = HRTIM_TIM_DMA_NONE;
  timer_config.DMASrcAddress = 0x0;
  timer_config.DMADstAddress = 0x0;
  timer_config.DMASize = 0x0;
  timer_config.HalfModeEnable = HRTIM_HALFMODE_DISABLED;
  timer_config.StartOnSync = HRTIM_SYNCSTART_DISABLED;
  timer_config.ResetOnSync = HRTIM_SYNCRESET_DISABLED;
  timer_config.DACSynchro = HRTIM_DACSYNC_NONE;
  timer_config.PreloadEnable = HRTIM_PRELOAD_ENABLED;
  timer_config.UpdateGating = HRTIM_UPDATEGATING_INDEPENDENT;
  timer_config.BurstMode = HRTIM_TIMERBURSTMODE_MAINTAINCLOCK;
  timer_config.RepetitionUpdate = HRTIM_UPDATEONREPETITION_DISABLED;
  timer_config.ResetUpdate = HRTIM_TIMUPDATEONRESET_DISABLED;
  timer_config.InterruptRequests = HRTIM_TIM_IT_NONE;
  timer_config.PushPull = HRTIM_TIMPUSHPULLMODE_DISABLED;
  timer_config.FaultEnable = HRTIM_TIMFAULTENABLE_NONE;
  timer_config.FaultLock = HRTIM_TIMFAULTLOCK_READWRITE;
  timer_config.DeadTimeInsertion = HRTIM_TIMDEADTIMEINSERTION_DISABLED;
  timer_config.DelayedProtectionMode = HRTIM_TIMER_A_B_C_DELAYEDPROTECTION_DISABLED;
  timer_config.UpdateTrigger = HRTIM_TIMUPDATETRIGGER_MASTER;

  timer_config.ResetTrigger = HRTIM_TIMRESETTRIGGER_MASTER_PER;
  HAL_HRTIM_WaveformTimerConfig(&hhrtim1, HRTIM_TIMERINDEX_TIMER_A, &timer_config);

  timer_config.ResetTrigger = HRTIM_TIMRESETTRIGGER_MASTER_CMP1;
  HAL_HRTIM_WaveformTimerConfig(&hhrtim1, HRTIM_TIMERINDEX_TIMER_B, &timer_config);

  timer_config.ResetTrigger = HRTIM_TIMRESETTRIGGER_MASTER_CMP2;
  HAL_HRTIM_WaveformTimerConfig(&hhrtim1, HRTIM_TIMERINDEX_TIMER_C, &timer_config);

  timer_config.DelayedProtectionMode = HRTIM_TIMER_D_E_DELAYEDPROTECTION_DISABLED;
  timer_config.ResetTrigger = HRTIM_TIMRESETTRIGGER_MASTER_CMP3;
  HAL_HRTIM_WaveformTimerConfig(&hhrtim1, HRTIM_TIMERINDEX_TIMER_D, &timer_config);

  /* -------------------------------------------- */
  /* 5. CONFIGURAZIONE USCITE: TA1, TB1, TC1, TD1 */
  /* -------------------------------------------- */
  output_config.Polarity = HRTIM_OUTPUTPOLARITY_HIGH;
  output_config.SetSource = HRTIM_OUTPUTSET_MASTERPER;
  output_config.ResetSource = HRTIM_OUTPUTRESET_TIMCMP1;
  output_config.IdleMode = HRTIM_OUTPUTIDLEMODE_IDLE;
  output_config.IdleLevel = HRTIM_OUTPUTIDLELEVEL_INACTIVE;
  output_config.FaultLevel = HRTIM_OUTPUTFAULTLEVEL_INACTIVE;
  output_config.ChopperModeEnable = HRTIM_OUTPUTCHOPPERMODE_DISABLED;
  output_config.BurstModeEntryDelayed = HRTIM_OUTPUTBURSTMODEENTRY_REGULAR;

  /* Fase 1: TA1 (PA8) */
  HAL_HRTIM_WaveformOutputConfig(&hhrtim1, HRTIM_TIMERINDEX_TIMER_A, HRTIM_OUTPUT_TA1, &output_config);

  /* Fase 2: TB1 (PA10) */
  output_config.SetSource = HRTIM_OUTPUTSET_MASTERCMP1;
  output_config.ResetSource = HRTIM_OUTPUTRESET_TIMCMP1;
  HAL_HRTIM_WaveformOutputConfig(&hhrtim1, HRTIM_TIMERINDEX_TIMER_B, HRTIM_OUTPUT_TB1, &output_config);

  /* Fase 3: TC1 (PB12) */
  output_config.SetSource = HRTIM_OUTPUTSET_MASTERCMP2;
  output_config.ResetSource = HRTIM_OUTPUTRESET_TIMCMP1;
  HAL_HRTIM_WaveformOutputConfig(&hhrtim1, HRTIM_TIMERINDEX_TIMER_C, HRTIM_OUTPUT_TC1, &output_config);

  /* Fase 4: TD1 (PB14) */
  output_config.SetSource = HRTIM_OUTPUTSET_MASTERCMP3;
  output_config.ResetSource = HRTIM_OUTPUTRESET_TIMCMP1;
  HAL_HRTIM_WaveformOutputConfig(&hhrtim1, HRTIM_TIMERINDEX_TIMER_D, HRTIM_OUTPUT_TD1, &output_config);

  /* ------------------------------------------------------------------- */
  /* 6. DUTY CYCLE (COMPAREUNIT_1) - Quello che era stato sovrascritto!  */
  /* ------------------------------------------------------------------- */
  compare_config.AutoDelayedMode = HRTIM_AUTODELAYEDMODE_REGULAR;
  compare_config.AutoDelayedTimeout = 0;
  compare_config.CompareValue = DUTY_CYCLE_INIT;

  HAL_HRTIM_WaveformCompareConfig(&hhrtim1, HRTIM_TIMERINDEX_TIMER_A, HRTIM_COMPAREUNIT_1, &compare_config);
  HAL_HRTIM_WaveformCompareConfig(&hhrtim1, HRTIM_TIMERINDEX_TIMER_B, HRTIM_COMPAREUNIT_1, &compare_config);
  HAL_HRTIM_WaveformCompareConfig(&hhrtim1, HRTIM_TIMERINDEX_TIMER_C, HRTIM_COMPAREUNIT_1, &compare_config);
  HAL_HRTIM_WaveformCompareConfig(&hhrtim1, HRTIM_TIMERINDEX_TIMER_D, HRTIM_COMPAREUNIT_1, &compare_config);

  /* ------------------------------------------------------------------- */
  /* 7. SFASAMENTI SUL MASTER TIMER (MCMP1, MCMP2, MCMP3)                */
  /* ------------------------------------------------------------------- */
  compare_config.CompareValue = PHASE_SHIFT_INIT;
  HAL_HRTIM_WaveformCompareConfig(&hhrtim1, HRTIM_TIMERINDEX_MASTER, HRTIM_COMPAREUNIT_1, &compare_config);

  compare_config.CompareValue = 2 * PHASE_SHIFT_INIT;
  HAL_HRTIM_WaveformCompareConfig(&hhrtim1, HRTIM_TIMERINDEX_MASTER, HRTIM_COMPAREUNIT_2, &compare_config);

  compare_config.CompareValue = 3 * PHASE_SHIFT_INIT;
  HAL_HRTIM_WaveformCompareConfig(&hhrtim1, HRTIM_TIMERINDEX_MASTER, HRTIM_COMPAREUNIT_3, &compare_config);

  /* -------------------------------------------------- */
  /* 8. BURST MODE CONFIG                               */
  /* -------------------------------------------------- */
  burst_config.ClockSource = HRTIM_BURSTMODECLOCKSOURCE_MASTER;
  burst_config.IdleDuration = BURST_IDLE;
  burst_config.Mode = HRTIM_BURSTMODE_CONTINOUS;
  burst_config.Period = BURST_PERIOD;
  burst_config.PreloadEnable = HRIM_BURSTMODEPRELOAD_ENABLED;
  burst_config.Prescaler = HRTIM_BURSTMODEPRESCALER_DIV1;
  burst_config.Trigger = HRTIM_BURSTMODETRIGGER_MASTER_RESET;
  HAL_HRTIM_BurstModeConfig(&hhrtim1, &burst_config);

  /* -------------------------------------------------------------- */
  /* 9. TRIGGER ADC A META' TON + DUMMY TRIGGERS                    */
  /* -------------------------------------------------------------- */
  compare_config.AutoDelayedMode = HRTIM_AUTODELAYEDMODE_REGULAR;
  compare_config.AutoDelayedTimeout = 0;
  compare_config.CompareValue = DUTY_CYCLE_INIT / 2;

  HAL_HRTIM_WaveformCompareConfig(&hhrtim1, HRTIM_TIMERINDEX_TIMER_A, HRTIM_COMPAREUNIT_2, &compare_config);
  HAL_HRTIM_WaveformCompareConfig(&hhrtim1, HRTIM_TIMERINDEX_TIMER_B, HRTIM_COMPAREUNIT_2, &compare_config);
  HAL_HRTIM_WaveformCompareConfig(&hhrtim1, HRTIM_TIMERINDEX_TIMER_C, HRTIM_COMPAREUNIT_2, &compare_config);
  HAL_HRTIM_WaveformCompareConfig(&hhrtim1, HRTIM_TIMERINDEX_TIMER_D, HRTIM_COMPAREUNIT_3, &compare_config);

  /* Dummy trigger per 3 fasi */
  compare_config.CompareValue = (MULTIPHASE_PERIOD / 3) - 1 - ADC_CONVERSION_TIME;
  HAL_HRTIM_WaveformCompareConfig(&hhrtim1, HRTIM_TIMERINDEX_TIMER_C, HRTIM_COMPAREUNIT_3, &compare_config);

  /* Dummy triggers per 2 fasi */
  compare_config.CompareValue = (MULTIPHASE_PERIOD / 2) - 1 - ADC_CONVERSION_TIME;
  HAL_HRTIM_WaveformCompareConfig(&hhrtim1, HRTIM_TIMERINDEX_TIMER_B, HRTIM_COMPAREUNIT_3, &compare_config);

  compare_config.CompareValue = (MULTIPHASE_PERIOD / 2) - 1 - (ADC_CONVERSION_TIME * 2);
  HAL_HRTIM_WaveformCompareConfig(&hhrtim1, HRTIM_TIMERINDEX_TIMER_B, HRTIM_COMPAREUNIT_4, &compare_config);

  /* Dummy triggers per 1 fase */
  compare_config.CompareValue = MULTIPHASE_PERIOD - 1 - (ADC_CONVERSION_TIME * 3);
  HAL_HRTIM_WaveformCompareConfig(&hhrtim1, HRTIM_TIMERINDEX_TIMER_A, HRTIM_COMPAREUNIT_3, &compare_config);

  compare_config.CompareValue = MULTIPHASE_PERIOD - 1 - (ADC_CONVERSION_TIME * 2);
  HAL_HRTIM_WaveformCompareConfig(&hhrtim1, HRTIM_TIMERINDEX_TIMER_A, HRTIM_COMPAREUNIT_4, &compare_config);

  adc_trigger_config.Trigger = HRTIM_ADCTRIGGEREVENT13_TIMERA_CMP2
                             | HRTIM_ADCTRIGGEREVENT13_TIMERB_CMP2
                             | HRTIM_ADCTRIGGEREVENT13_TIMERC_CMP2
                             | HRTIM_ADCTRIGGEREVENT13_TIMERD_CMP3;
  adc_trigger_config.UpdateSource = HRTIM_ADCTRIGGERUPDATE_MASTER;
  HAL_HRTIM_ADCTriggerConfig(&hhrtim1, HRTIM_ADCTRIGGER_1, &adc_trigger_config);

  /* ---------------------*/
  /* 10. FAULT CONFIG     */
  /* ---------------------*/
  fault_config.Filter = HRTIM_FAULTFILTER_NONE;
  fault_config.Lock = HRTIM_FAULTLOCK_READWRITE;
  fault_config.Polarity = HRTIM_FAULTPOLARITY_LOW;
  fault_config.Source = HRTIM_FAULTSOURCE_DIGITALINPUT;
  HAL_HRTIM_FaultConfig(&hhrtim1, HRTIM_FAULT_1, &fault_config);
}

static void Update_Boost_Parameters(void)
{
  HRTIM_ADCTriggerCfgTypeDef adc_trigger_config;
  float clamped_duty = TargetDutyPercent;

  /* 1. Sicurezza sul Duty Cycle (limita tra 2.0% e 80.0%) */
  if (clamped_duty < 2.0f)  clamped_duty = 2.0f;
  if (clamped_duty > 80.0f) clamped_duty = 80.0f;

  /* Converti da percentuale a ticks dell'HRTIM (su base 11520) */
  uint32_t new_duty_ticks = (uint32_t)((clamped_duty / 100.0f) * ((float)MULTIPHASE_PERIOD));

  /* Se il duty cycle è stato cambiato in Live Expressions, aggiorna i registri */
  if (new_duty_ticks != CurrentDutyTicks)
  {
    CurrentDutyTicks = new_duty_ticks;
    uint32_t half_ton_ticks = CurrentDutyTicks / 2; /* Nuovo punto a 50% di Ton per l'ADC */

    /* Aggiorna Duty Cycle (CMP1) su tutte e 4 le fasi */
    __HAL_HRTIM_SETCOMPARE(&hhrtim1, HRTIM_TIMERINDEX_TIMER_A, HRTIM_COMPAREUNIT_1, CurrentDutyTicks);
    __HAL_HRTIM_SETCOMPARE(&hhrtim1, HRTIM_TIMERINDEX_TIMER_B, HRTIM_COMPAREUNIT_1, CurrentDutyTicks);
    __HAL_HRTIM_SETCOMPARE(&hhrtim1, HRTIM_TIMERINDEX_TIMER_C, HRTIM_COMPAREUNIT_1, CurrentDutyTicks);
    __HAL_HRTIM_SETCOMPARE(&hhrtim1, HRTIM_TIMERINDEX_TIMER_D, HRTIM_COMPAREUNIT_1, CurrentDutyTicks);

    /* Aggiorna l'istante di campionamento ADC per restare sempre a metà Ton */
    __HAL_HRTIM_SETCOMPARE(&hhrtim1, HRTIM_TIMERINDEX_TIMER_A, HRTIM_COMPAREUNIT_2, half_ton_ticks);
    __HAL_HRTIM_SETCOMPARE(&hhrtim1, HRTIM_TIMERINDEX_TIMER_B, HRTIM_COMPAREUNIT_2, half_ton_ticks);
    __HAL_HRTIM_SETCOMPARE(&hhrtim1, HRTIM_TIMERINDEX_TIMER_C, HRTIM_COMPAREUNIT_2, half_ton_ticks);
    __HAL_HRTIM_SETCOMPARE(&hhrtim1, HRTIM_TIMERINDEX_TIMER_D, HRTIM_COMPAREUNIT_3, half_ton_ticks);
  }

  /* 2. Gestione cambio numero di fasi (1, 2, 3 o 4) */
  if (NumActivePhases != PrevActivePhases)
  {
    adc_trigger_config.UpdateSource = HRTIM_ADCTRIGGERUPDATE_MASTER;

    switch (NumActivePhases)
    {
      case 1: /* 1 FASE ATTIVA: Solo PH1 (TA1) */
        /* Spegni PH2, PH3, PH4 e mantieni accesa PH1 */
        HAL_HRTIM_WaveformOutputStop(&hhrtim1, HRTIM_OUTPUT_TB1 | HRTIM_OUTPUT_TC1 | HRTIM_OUTPUT_TD1);
        HAL_HRTIM_WaveformOutputStart(&hhrtim1, HRTIM_OUTPUT_TA1);

        /* Trigger ADC: 1 reale (TA_CMP2) + 3 dummy (TA_CMP3, TA_CMP4, TA_PER) */
        adc_trigger_config.Trigger = HRTIM_ADCTRIGGEREVENT13_TIMERA_CMP2
                                   | HRTIM_ADCTRIGGEREVENT13_TIMERA_CMP3
                                   | HRTIM_ADCTRIGGEREVENT13_TIMERA_CMP4
                                   | HRTIM_ADCTRIGGEREVENT13_TIMERA_PERIOD;
        HAL_HRTIM_ADCTriggerConfig(&hhrtim1, HRTIM_ADCTRIGGER_1, &adc_trigger_config);
        PrevActivePhases = 1;
        break;

      case 2: /* 2 FASI ATTIVE: PH1 e PH2 sfasate di 180° (MULTIPHASE_PERIOD / 2) */
        /* Sfasamento PH2 a 180 gradi */
        __HAL_HRTIM_SETCOMPARE(&hhrtim1, HRTIM_TIMERINDEX_MASTER, HRTIM_COMPAREUNIT_1, (MULTIPHASE_PERIOD / 2));

        /* Spegni PH3, PH4 e abilita PH1, PH2 */
        HAL_HRTIM_WaveformOutputStop(&hhrtim1, HRTIM_OUTPUT_TC1 | HRTIM_OUTPUT_TD1);
        HAL_HRTIM_WaveformOutputStart(&hhrtim1, HRTIM_OUTPUT_TA1 | HRTIM_OUTPUT_TB1);

        /* Trigger ADC: 2 reali (TA_CMP2, TB_CMP2) + 2 dummy (TB_CMP3, TB_CMP4) */
        adc_trigger_config.Trigger = HRTIM_ADCTRIGGEREVENT13_TIMERA_CMP2
                                   | HRTIM_ADCTRIGGEREVENT13_TIMERB_CMP2
                                   | HRTIM_ADCTRIGGEREVENT13_TIMERB_CMP3
                                   | HRTIM_ADCTRIGGEREVENT13_TIMERB_CMP4;
        HAL_HRTIM_ADCTriggerConfig(&hhrtim1, HRTIM_ADCTRIGGER_1, &adc_trigger_config);
        PrevActivePhases = 2;
        break;

      case 3: /* 3 FASI ATTIVE: PH1, PH2, PH3 sfasate di 120° (MULTIPHASE_PERIOD / 3) */
        /* Sfasamento PH2 a 120° e PH3 a 240° */
        __HAL_HRTIM_SETCOMPARE(&hhrtim1, HRTIM_TIMERINDEX_MASTER, HRTIM_COMPAREUNIT_1, (MULTIPHASE_PERIOD / 3));
        __HAL_HRTIM_SETCOMPARE(&hhrtim1, HRTIM_TIMERINDEX_MASTER, HRTIM_COMPAREUNIT_2, 2 * (MULTIPHASE_PERIOD / 3));

        /* Spegni PH4 e abilita PH1, PH2, PH3 */
        HAL_HRTIM_WaveformOutputStop(&hhrtim1, HRTIM_OUTPUT_TD1);
        HAL_HRTIM_WaveformOutputStart(&hhrtim1, HRTIM_OUTPUT_TA1 | HRTIM_OUTPUT_TB1 | HRTIM_OUTPUT_TC1);

        /* Trigger ADC: 3 reali (TA_CMP2, TB_CMP2, TC_CMP2) + 1 dummy (TC_CMP3) */
        adc_trigger_config.Trigger = HRTIM_ADCTRIGGEREVENT13_TIMERA_CMP2
                                   | HRTIM_ADCTRIGGEREVENT13_TIMERB_CMP2
                                   | HRTIM_ADCTRIGGEREVENT13_TIMERC_CMP2
                                   | HRTIM_ADCTRIGGEREVENT13_TIMERC_CMP3;
        HAL_HRTIM_ADCTriggerConfig(&hhrtim1, HRTIM_ADCTRIGGER_1, &adc_trigger_config);
        PrevActivePhases = 3;
        break;

      case 4: /* 4 FASI ATTIVE: PH1, PH2, PH3, PH4 sfasate di 90° (MULTIPHASE_PERIOD / 4) */
      default:
        NumActivePhases = 4; /* Se scrivi per sbaglio un numero fuori range, forza 4 fasi */
        /* Sfasamento PH2 a 90°, PH3 a 180°, PH4 a 270° */
        __HAL_HRTIM_SETCOMPARE(&hhrtim1, HRTIM_TIMERINDEX_MASTER, HRTIM_COMPAREUNIT_1, (MULTIPHASE_PERIOD / 4));
        __HAL_HRTIM_SETCOMPARE(&hhrtim1, HRTIM_TIMERINDEX_MASTER, HRTIM_COMPAREUNIT_2, 2 * (MULTIPHASE_PERIOD / 4));
        __HAL_HRTIM_SETCOMPARE(&hhrtim1, HRTIM_TIMERINDEX_MASTER, HRTIM_COMPAREUNIT_3, 3 * (MULTIPHASE_PERIOD / 4));

        /* Abilita tutte e 4 le uscite */
        HAL_HRTIM_WaveformOutputStart(&hhrtim1, HRTIM_OUTPUT_TA1 | HRTIM_OUTPUT_TB1 | HRTIM_OUTPUT_TC1 | HRTIM_OUTPUT_TD1);

        /* Trigger ADC: 4 reali (TA_CMP2, TB_CMP2, TC_CMP2, TD_CMP3) */
        adc_trigger_config.Trigger = HRTIM_ADCTRIGGEREVENT13_TIMERA_CMP2
                                   | HRTIM_ADCTRIGGEREVENT13_TIMERB_CMP2
                                   | HRTIM_ADCTRIGGEREVENT13_TIMERC_CMP2
                                   | HRTIM_ADCTRIGGEREVENT13_TIMERD_CMP3;
        HAL_HRTIM_ADCTriggerConfig(&hhrtim1, HRTIM_ADCTRIGGER_1, &adc_trigger_config);
        PrevActivePhases = 4;
        break;
    }
  }
}

/* Callback chiamata in automatico ogni volta che premi un tasto sulla tastiera */
void HAL_UART_RxCpltCallback(UART_HandleTypeDef *huart)
{
  if (huart->Instance == USART2)
  {
    /* Se l'utente ha premuto INVIO (\r o \n) */
    if (uart_rx_byte == '\r' || uart_rx_byte == '\n')
    {
      if (uart_rx_index > 0) /* Se c'è almeno un carattere scritto */
      {
        uart_rx_buffer[uart_rx_index] = '\0'; /* Chiudi la stringa */
        char msg_out[64];

        /* Controlla se l'utente vuole cambiare il numero di fasi (es. "P2" o "p2") */
        if (uart_rx_buffer[0] == 'P' || uart_rx_buffer[0] == 'p')
        {
          int phases = atoi(&uart_rx_buffer[1]);
          if (phases >= 1 && phases <= 4)
          {
            NumActivePhases = (uint8_t)phases;
            snprintf(msg_out, sizeof(msg_out), "\r\n-> Fasi attive impostate a: %d\r\n", NumActivePhases);
            HAL_UART_Transmit(&huart2, (uint8_t*)msg_out, strlen(msg_out), 50);
          }
        }
        else
        {
          /* Altrimenti interpreta l'input come Duty Cycle (da 1 a 100%) */
          float val = atof(uart_rx_buffer);
          if (val >= 1.0f && val <= 100.0f)
          {
            TargetDutyPercent = val;
            snprintf(msg_out, sizeof(msg_out), "\r\n-> Nuovo Duty Cycle: %d%%\r\n", (int)TargetDutyPercent);
            HAL_UART_Transmit(&huart2, (uint8_t*)msg_out, strlen(msg_out), 50);
          }
          else
          {
            char err_msg[] = "\r\nErrore: inserisci un valore tra 1 e 100!\r\n";
            HAL_UART_Transmit(&huart2, (uint8_t*)err_msg, strlen(err_msg), 50);
          }
        }
        uart_rx_index = 0; /* Azzera il buffer per il prossimo comando */
      }
    }
    else
    {
      /* Rimanda il carattere a schermo (Echo) così vedi cosa stai digitando */
      HAL_UART_Transmit(&huart2, &uart_rx_byte, 1, 10);

      /* Salva il carattere nel buffer se c'è spazio */
      if (uart_rx_index < sizeof(uart_rx_buffer) - 1)
      {
        uart_rx_buffer[uart_rx_index++] = (char)uart_rx_byte;
      }
    }

    /* Ri-attiva subito l'ascolto per il prossimo tasto premuto */
    HAL_UART_Receive_IT(&huart2, &uart_rx_byte, 1);
  }
}
/* USER CODE END 4 */

void Error_Handler(void)
{
  /* USER CODE BEGIN Error_Handler_Debug */
/* Spegne subito tutte le uscite PWM per sicurezza in caso di errore */
  HAL_HRTIM_WaveformOutputStop(&hhrtim1, HRTIM_OUTPUT_TA1 | HRTIM_OUTPUT_TB1 | HRTIM_OUTPUT_TC1 | HRTIM_OUTPUT_TD1);
  /* User can add his own implementation to report the HAL error return state */
  //__disable_irq();
  while (1)
  {
	  HAL_GPIO_TogglePin(GPIOA, GPIO_PIN_5);
	  for (volatile uint32_t i = 0; i < 1500000; i++);
  }
  /* USER CODE END Error_Handler_Debug */
}
